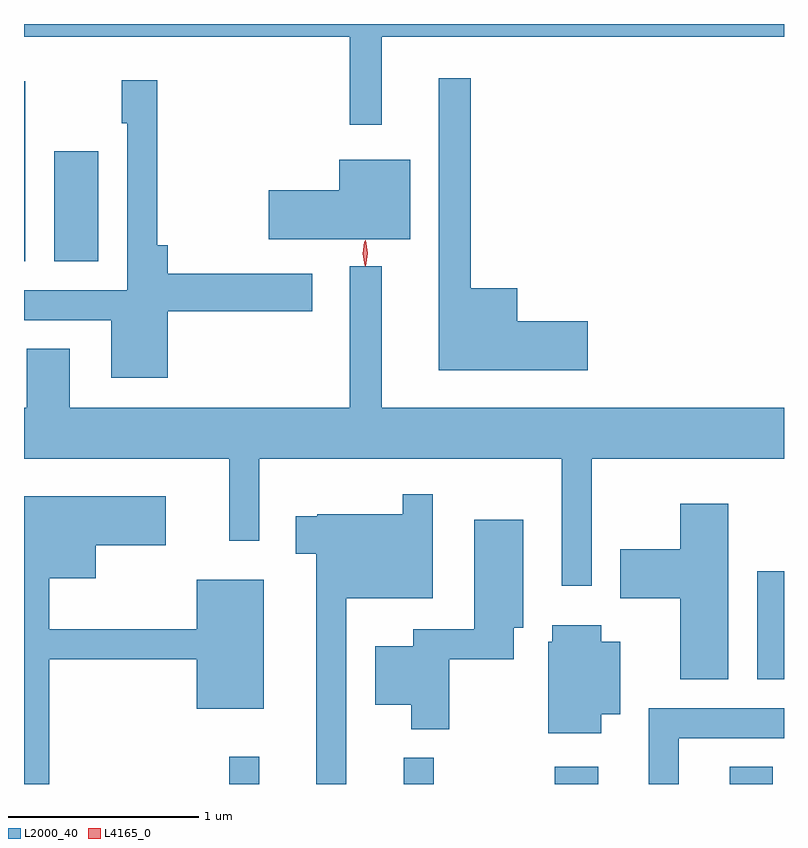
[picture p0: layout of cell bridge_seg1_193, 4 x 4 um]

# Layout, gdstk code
import gdstk
lib = gdstk.Library(unit=1e-6, precision=1e-09)
def R(c, l, rs):  # rectangles x0, y0, x1, y1
    for r in rs: c.add(gdstk.rectangle(r[:2], r[2:], *l))
def P(c, l, *ps):  # polygons
    for p in ps: c.add(gdstk.Polygon(p, *l))
L2000_40 = (2000, 40)
L4165_0 = (4165, 0)

bridge_seg1_193 = lib.new_cell('bridge_seg1_193')
R(bridge_seg1_193, L2000_40, [(830.766,913.404,830.924,913.548), (831.686,913.404,831.844,913.543), (832.481,913.404,832.709,913.494), (833.401,913.404,833.629,913.494), (833.546,913.956,833.687,914.524), (829.687,916.156,829.694,917.104), (829.846,916.156,830.079,916.734)])
P(bridge_seg1_193, L2000_40, [(831.569,917.336),(833.687,917.336),(833.687,917.404),(829.687,917.404),(829.687,917.336),(831.401,917.336),(831.401,916.873),(831.569,916.873)],
  [(832.654,915.839),(832.284,915.839),(832.284,916.014),(832.039,916.014),(832.039,917.118),(831.871,917.118),(831.871,915.581),(832.654,915.581)],
  [(830.444,915.891),(831.204,915.891),(831.204,916.089),(830.444,916.089),(830.444,916.239),(830.389,916.239),(830.389,917.109),(830.201,917.109),(830.201,916.881),(830.231,916.881),(830.231,916.004),(829.687,916.004),(829.687,915.846),(830.146,915.846),(830.146,915.541),(830.444,915.541)],
  [(831.719,916.689),(831.346,916.689),(831.346,916.529),(830.976,916.529),(830.976,916.271),(831.719,916.271)],
  [(832.674,915.116),(833.687,915.116),(833.687,915.384),(831.569,915.384),(831.569,916.128),(831.401,916.128),(831.401,915.384),(829.929,915.384),(829.929,915.694),(829.701,915.694),(829.701,915.384),(829.687,915.384),(829.687,915.116),(830.766,915.116),(830.766,914.683),(830.924,914.683),(830.924,915.116),(832.516,915.116),(832.516,914.448),(832.674,914.448)],
  [(831.384,914.381),(831.839,914.381),(831.839,914.928),(831.681,914.928),(831.681,914.824),(831.23,914.824),(831.23,914.814),(831.116,914.814),(831.116,914.616),(831.226,914.616),(831.226,913.404),(831.384,913.404)],
  [(829.819,914.061),(830.596,914.061),(830.596,913.801),(830.949,913.801),(830.949,914.479),(830.596,914.479),(830.596,914.219),(829.819,914.219),(829.819,914.486),(830.064,914.486),(830.064,914.661),(830.434,914.661),(830.434,914.919),(829.687,914.919),(829.687,913.404),(829.819,913.404)],
  [(833.394,914.879),(833.141,914.879),(833.141,914.639),(832.826,914.639),(832.826,914.381),(833.141,914.381),(833.141,913.956),(833.394,913.956)],
  [(831.924,914.061),(832.264,914.061),(832.264,914.226),(832.314,914.226),(832.314,914.794),(832.056,914.794),(832.056,914.219),(831.736,914.219),(831.736,914.129),(831.536,914.129),(831.536,913.821),(831.726,913.821),(831.726,913.691),(831.924,913.691)],
  [(832.724,913.771),(832.824,913.771),(832.824,914.154),(832.724,914.154),(832.724,914.239),(832.466,914.239),(832.466,914.154),(832.446,914.154),(832.446,913.671),(832.724,913.671)],
  [(833.134,913.646),(833.687,913.646),(833.687,913.804),(832.976,913.804),(832.976,913.404),(833.134,913.404)])
P(bridge_seg1_193, L4165_0, [(831.48,916.133),(831.48,916.133),(831.47,916.196),(831.479,916.259),(831.48,916.259),(831.48,916.259),(831.49,916.196),(831.481,916.133)],
  [(831.484,916.13),(831.475,916.198),(831.484,916.265),(831.484,916.266),(831.485,916.265),(831.495,916.198),(831.485,916.13),(831.485,916.13)])

lib.write_gds('bridge_seg1_193.gds')
